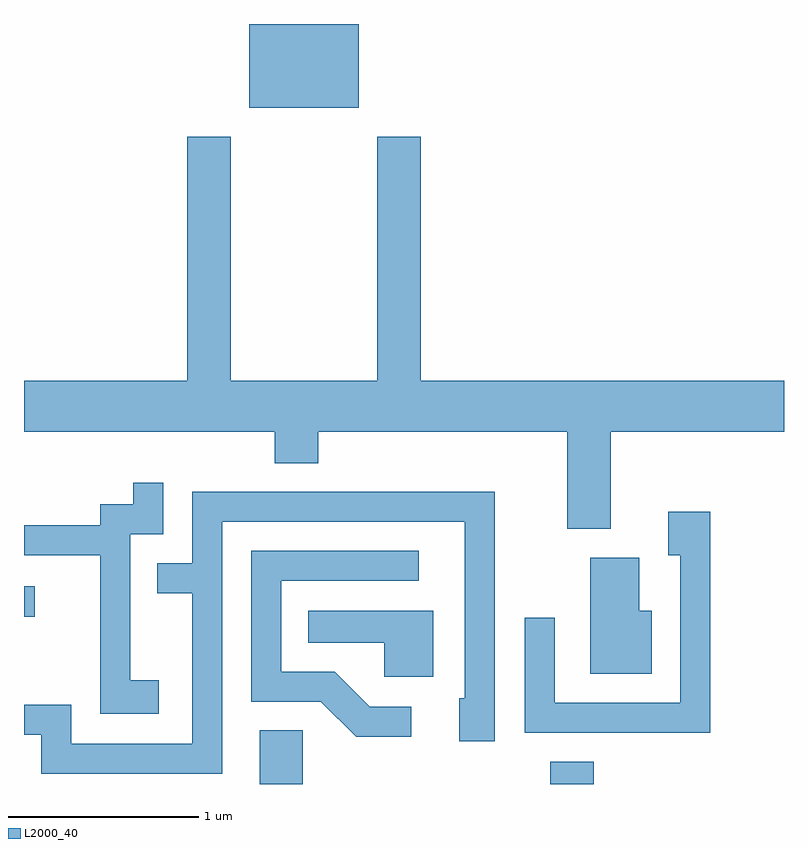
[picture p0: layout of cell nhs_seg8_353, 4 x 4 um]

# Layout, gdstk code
import gdstk
lib = gdstk.Library(unit=1e-6, precision=1e-09)
def R(c, l, rs):  # rectangles x0, y0, x1, y1
    for r in rs: c.add(gdstk.rectangle(r[:2], r[2:], *l))
def P(c, l, *ps):  # polygons
    for p in ps: c.add(gdstk.Polygon(p, *l))
L2000_40 = (2000, 40)

nhs_seg8_353 = lib.new_cell('nhs_seg8_353')
R(nhs_seg8_353, L2000_40, [(196.851,1832.342,197.079,1832.624), (198.381,1832.342,198.609,1832.459), (195.611,1833.221,195.668,1833.384), (196.796,1835.901,197.374,1836.342)])
P(nhs_seg8_353, L2000_40, [(198.699,1834.196),(199.611,1834.196),(199.611,1834.464),(197.699,1834.464),(197.699,1835.749),(197.471,1835.749),(197.471,1834.464),(196.699,1834.464),(196.699,1835.749),(196.471,1835.749),(196.471,1834.464),(195.611,1834.464),(195.611,1834.196),(196.931,1834.196),(196.931,1834.031),(197.159,1834.031),(197.159,1834.196),(198.471,1834.196),(198.471,1833.686),(198.699,1833.686)],
  [(196.319,1832.889),(196.169,1832.889),(196.169,1833.656),(196.344,1833.656),(196.344,1833.928),(196.186,1833.928),(196.186,1833.814),(196.011,1833.814),(196.011,1833.704),(195.611,1833.704),(195.611,1833.546),(196.011,1833.546),(196.011,1832.711),(196.319,1832.711)],
  [(196.654,1833.721),(197.931,1833.721),(197.931,1832.794),(197.901,1832.794),(197.901,1832.566),(198.089,1832.566),(198.089,1833.879),(196.496,1833.879),(196.496,1833.504),(196.313,1833.504),(196.313,1833.346),(196.496,1833.346),(196.496,1832.554),(195.859,1832.554),(195.859,1832.759),(195.611,1832.759),(195.611,1832.601),(195.701,1832.601),(195.701,1832.396),(196.654,1832.396)],
  [(199.224,1833.774),(199.001,1833.774),(199.001,1833.546),(199.066,1833.546),(199.066,1832.769),(198.404,1832.769),(198.404,1833.218),(198.246,1833.218),(198.246,1832.611),(199.224,1832.611)],
  [(197.648,1832.749),(197.432,1832.749),(197.247,1832.934),(196.964,1832.934),(196.964,1833.411),(197.688,1833.411),(197.688,1833.569),(196.806,1833.569),(196.806,1832.776),(197.174,1832.776),(197.359,1832.591),(197.648,1832.591)],
  [(198.914,1833.254),(198.849,1833.254),(198.849,1833.534),(198.591,1833.534),(198.591,1832.921),(198.914,1832.921)],
  [(197.764,1833.254),(197.108,1833.254),(197.108,1833.086),(197.506,1833.086),(197.506,1832.906),(197.764,1832.906)])

lib.write_gds('nhs_seg8_353.gds')
